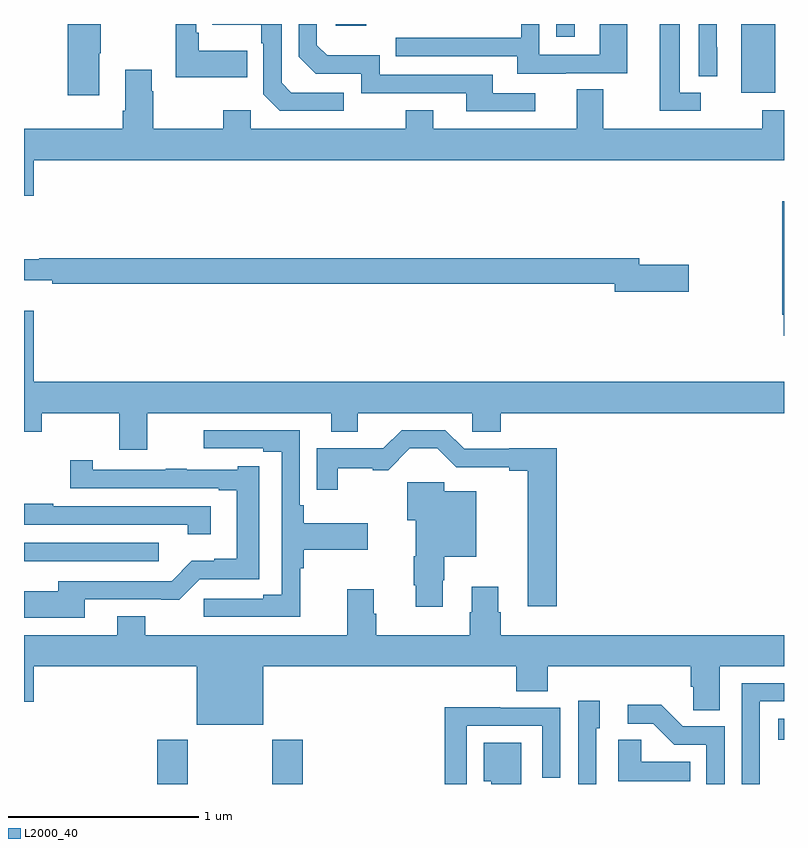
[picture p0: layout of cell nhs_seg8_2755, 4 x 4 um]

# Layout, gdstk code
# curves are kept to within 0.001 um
import gdstk
lib = gdstk.Library(unit=1e-6, precision=1e-09)
def R(c, l, rs):  # rectangles x0, y0, x1, y1
    for r in rs: c.add(gdstk.rectangle(r[:2], r[2:], *l))
def P(c, l, *ps):  # polygons
    for p in ps: c.add(gdstk.Polygon(p, *l))
L2000_40 = (2000, 40)

nhs_seg8_2755 = lib.new_cell('nhs_seg8_2755')
R(nhs_seg8_2755, L2000_40, [(285.701,1095.9,285.861,1096.132), (286.306,1095.9,286.466,1096.132), (288.969,1096.133,289,1096.243), (288.776,1099.538,288.955,1099.899), (287.802,1099.833,287.899,1099.9), (286.641,1099.892,286.802,1099.9)])
P(nhs_seg8_2755, L2000_40, [(287.851,1099.641),(288.175,1099.641),(288.175,1099.9),(288.03,1099.9),(288.03,1099.737),(287.712,1099.737),(287.712,1099.9),(287.616,1099.9),(287.616,1099.827),(286.957,1099.827),(286.957,1099.731),(287.597,1099.731),(287.597,1099.637),(287.851,1099.637)],
  [(287.692,1099.536),(287.467,1099.536),(287.467,1099.632),(286.872,1099.632),(286.872,1099.735),(286.595,1099.735),(286.542,1099.788),(286.542,1099.9),(286.446,1099.9),(286.446,1099.728),(286.536,1099.638),(286.776,1099.638),(286.776,1099.536),(287.327,1099.536),(287.327,1099.44),(287.692,1099.44)],
  [(285.397,1099.747),(285.405,1099.747),(285.405,1099.9),(285.23,1099.9),(285.23,1099.524),(285.397,1099.524)],
  [(286.175,1099.759),(285.919,1099.759),(285.919,1099.855),(285.906,1099.855),(285.906,1099.9),(285.798,1099.9),(285.798,1099.619),(286.175,1099.619)],
  [(288.648,1099.778),(288.647,1099.778),(288.647,1099.9),(288.552,1099.9),(288.552,1099.624),(288.648,1099.624)],
  [(286.684,1099.539),(286.407,1099.539),(286.356,1099.59),(286.356,1099.9),(285.991,1099.9),(285.991,1099.895),(286.248,1099.895),(286.248,1099.799),(286.26,1099.799),(286.26,1099.53),(286.347,1099.443),(286.684,1099.443)],
  [(288.562,1099.539),(288.451,1099.539),(288.451,1099.9),(288.347,1099.9),(288.347,1099.443),(288.562,1099.443)],
  [(285.052,1099.184),(289,1099.184),(289,1099.447),(288.886,1099.447),(288.886,1099.348),(288.049,1099.348),(288.049,1099.556),(287.909,1099.556),(287.909,1099.348),(287.155,1099.348),(287.155,1099.447),(287.008,1099.447),(287.008,1099.348),(286.194,1099.348),(286.194,1099.447),(286.048,1099.447),(286.048,1099.348),(285.681,1099.348),(285.681,1099.547),(285.673,1099.547),(285.673,1099.66),(285.533,1099.66),(285.533,1099.444),(285.521,1099.444),(285.521,1099.348),(285,1099.348),(285,1098.996),(285.052,1098.996)],
  [(289,1098.968),(288.991,1098.968),(288.991,1098.37),(288.999,1098.37),(288.999,1098.258),(289,1098.258)],
  [(288.499,1098.632),(288.238,1098.632),(288.238,1098.668),(285.08,1098.668),(285.08,1098.661),(285,1098.661),(285,1098.551),(285.148,1098.551),(285.148,1098.532),(288.11,1098.532),(288.11,1098.49),(288.499,1098.49)],
  [(285.052,1098.391),(285,1098.391),(285,1097.754),(285.093,1097.754),(285.093,1097.852),(285.502,1097.852),(285.502,1097.658),(285.649,1097.658),(285.649,1097.852),(286.616,1097.852),(286.616,1097.753),(286.756,1097.753),(286.756,1097.852),(287.358,1097.852),(287.358,1097.754),(287.51,1097.754),(287.51,1097.852),(289,1097.852),(289,1098.016),(285.052,1098.016)],
  [(286.455,1097.036),(286.472,1097.036),(286.472,1097.132),(286.81,1097.132),(286.81,1097.272),(286.472,1097.272),(286.472,1097.368),(286.452,1097.368),(286.452,1097.763),(285.945,1097.763),(285.945,1097.667),(286.259,1097.667),(286.259,1097.649),(286.356,1097.649),(286.356,1096.895),(286.259,1096.895),(286.259,1096.875),(285.945,1096.875),(285.945,1096.779),(286.455,1096.779)],
  [(287.804,1097.666),(287.555,1097.666),(287.555,1097.664),(287.316,1097.664),(287.217,1097.763),(286.989,1097.763),(286.892,1097.666),(286.542,1097.666),(286.542,1097.448),(286.651,1097.448),(286.651,1097.563),(286.835,1097.563),(286.835,1097.551),(286.916,1097.551),(287.031,1097.666),(287.176,1097.666),(287.274,1097.568),(287.555,1097.568),(287.555,1097.548),(287.651,1097.548),(287.651,1096.836),(287.804,1096.836)],
  [(285.319,1096.872),(285.818,1096.871),(285.924,1096.977),(286.237,1096.977),(286.237,1097.572),(286.125,1097.572),(286.125,1097.553),(285.857,1097.553),(285.857,1097.558),(285.745,1097.558),(285.745,1097.553),(285.363,1097.553),(285.363,1097.605),(285.243,1097.605),(285.243,1097.457),(286.025,1097.457),(286.025,1097.445),(286.121,1097.445),(286.121,1097.086),(286.002,1097.086),(286.002,1097.074),(285.883,1097.074),(285.777,1096.968),(285.179,1096.968),(285.179,1096.915),(285,1096.915),(285,1096.775),(285.319,1096.775)],
  [(287.203,1096.973),(287.211,1096.973),(287.211,1097.096),(287.38,1097.096),(287.38,1097.44),(287.211,1097.44),(287.211,1097.488),(287.018,1097.488),(287.018,1097.288),(287.063,1097.288),(287.063,1097.1),(287.051,1097.1),(287.051,1096.945),(287.063,1096.945),(287.063,1096.833),(287.203,1096.833)],
  [(285.982,1097.361),(285.155,1097.361),(285.155,1097.374),(285,1097.374),(285,1097.265),(285.861,1097.265),(285.861,1097.214),(285.982,1097.214)],
  [(285.009,1097.073),(285.709,1097.073),(285.709,1097.169),(285,1097.169),(285,1097.072),(285.009,1097.072)],
  [(286.258,1096.52),(287.591,1096.52),(287.591,1096.387),(287.756,1096.387),(287.756,1096.52),(288.509,1096.52),(288.509,1096.411),(288.522,1096.411),(288.522,1096.288),(288.661,1096.288),(288.661,1096.52),(289,1096.52),(289,1096.684),(287.51,1096.684),(287.51,1096.803),(287.497,1096.803),(287.497,1096.939),(287.357,1096.939),(287.357,1096.803),(287.345,1096.803),(287.345,1096.684),(286.853,1096.684),(286.853,1096.796),(286.84,1096.796),(286.84,1096.924),(286.7,1096.924),(286.7,1096.684),(285.639,1096.684),(285.639,1096.783),(285.491,1096.783),(285.491,1096.684),(285,1096.684),(285,1096.332),(285.052,1096.332),(285.052,1096.52),(285.908,1096.52),(285.908,1096.211),(286.258,1096.211)],
  [(288.873,1096.335),(289,1096.335),(289,1096.431),(288.777,1096.431),(288.777,1095.9),(288.873,1095.9)],
  [(288.012,1096.194),(288.031,1096.194),(288.031,1096.339),(287.916,1096.339),(287.916,1095.9),(288.012,1095.9)],
  [(288.687,1096.203),(288.468,1096.203),(288.355,1096.316),(288.177,1096.316),(288.177,1096.218),(288.311,1096.218),(288.422,1096.107),(288.591,1096.107),(288.591,1095.9),(288.687,1095.9)],
  [(287.331,1096.206),(287.727,1096.206),(287.727,1095.933),(287.823,1095.933),(287.823,1096.302),(287.507,1096.302),(287.507,1096.304),(287.215,1096.304),(287.215,1095.9),(287.331,1095.9)],
  [(288.506,1096.018),(288.249,1096.018),(288.249,1096.133),(288.128,1096.133),(288.128,1095.914),(288.506,1095.914)],
  [(287.617,1096.117),(287.42,1096.117),(287.42,1095.914),(287.459,1095.914),(287.459,1095.9),(287.617,1095.9)])

lib.write_gds('nhs_seg8_2755.gds')
